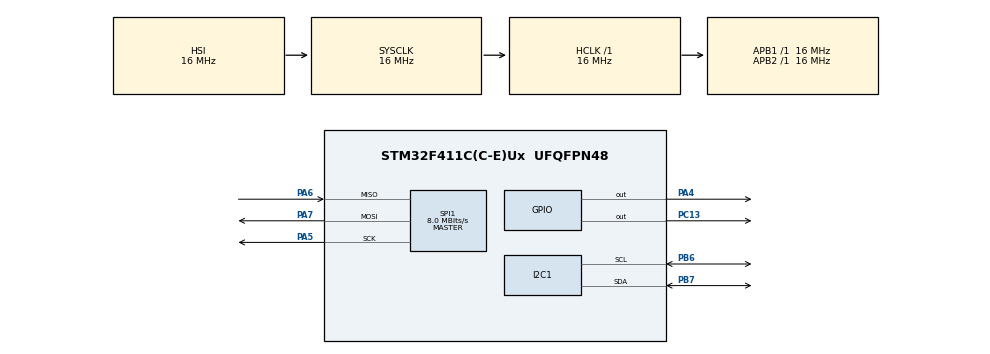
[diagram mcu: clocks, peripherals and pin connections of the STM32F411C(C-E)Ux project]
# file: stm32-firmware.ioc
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Mcu.Family=STM32F4
Mcu.Name=STM32F411C(C-E)Ux
Mcu.Package=UFQFPN48
NVIC.PriorityGroup=NVIC_PRIORITYGROUP_4
PA4.Signal=GPIO_Output
PA5.Mode=Full_Duplex_Master
PA5.Signal=SPI1_SCK
PA6.Mode=Full_Duplex_Master
PA6.Signal=SPI1_MISO
PA7.Mode=Full_Duplex_Master
PA7.Signal=SPI1_MOSI
PB6.Mode=I2C
PB6.Signal=I2C1_SCL
PB7.Mode=I2C
PB7.Signal=I2C1_SDA
PC13-ANTI_TAMP.Signal=GPIO_Output
ProjectManager.HeapSize=0x200
ProjectManager.StackSize=0x400
ProjectManager.TargetToolchain=STM32CubeIDE
RCC.AHBFreq_Value=16000000
RCC.APB1Freq_Value=16000000
RCC.APB2Freq_Value=16000000
RCC.CortexFreq_Value=16000000
RCC.HSE_VALUE=25000000
RCC.HSI_VALUE=16000000
RCC.LSE_VALUE=32768
RCC.SYSCLKFreq_VALUE=16000000
RCC.VCOOutputFreq_Value=192000000
SPI1.CalculateBaudRate=8.0 MBits/s
SPI1.Direction=SPI_DIRECTION_2LINES
SPI1.Mode=SPI_MODE_MASTER
SPI1.VirtualType=VM_MASTER
VP_TIM2_VS_ClockSourceINT.Mode=Internal
board=custom

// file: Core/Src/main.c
/* USER CODE BEGIN Header */
/**
  ******************************************************************************
  * @file           : main.c
  * @brief          : Main program body
  ******************************************************************************
  * @attention
  *
  * Copyright (c) 2026 STMicroelectronics.
  * All rights reserved.
  *
  * This software is licensed under terms that can be found in the LICENSE file
  * in the root directory of this software component.
  * If no LICENSE file comes with this software, it is provided AS-IS.
  *
  ******************************************************************************
  */
/* USER CODE END Header */
#include "main.h"

/* USER CODE BEGIN Includes */
#include "mpu6050.h"
#include "bmp280.h"
#include "mcp2515.h"
/* USER CODE END Includes */

I2C_HandleTypeDef hi2c1;

SPI_HandleTypeDef hspi1;

TIM_HandleTypeDef htim2;

void SystemClock_Config(void);
static void MX_GPIO_Init(void);
static void MX_TIM2_Init(void);
static void MX_I2C1_Init(void);
static void MX_SPI1_Init(void);

int main(void)
{

  /* MCU Configuration--------------------------------------------------------*/

  /* Reset of all peripherals, Initializes the Flash interface and the Systick. */
  HAL_Init();

  /* Configure the system clock */
  SystemClock_Config();

  /* Initialize all configured peripherals */
  MX_GPIO_Init();
  MX_TIM2_Init();
  MX_I2C1_Init();
  MX_SPI1_Init();
  /* USER CODE BEGIN 2 */

  HAL_Delay(500);

  /* Initialise MPU6050 */
  if (MPU6050_Init() != HAL_OK) {
    /* MPU failed — fast blink forever */
    while (1) {
      HAL_GPIO_TogglePin(GPIOC, GPIO_PIN_13);
      HAL_Delay(50);
    }
  }

  /* Initialise BMP280 */
  uint8_t bmp_ok = (BMP280_Init() == HAL_OK) ? 1 : 0;

  /* Initialise MCP2515 */
  uint8_t mcp_ok = (MCP2515_Init() == HAL_OK) ? 1 : 0;

  /* Blink confirmation:
   *   3 blinks = MPU only
   *   5 blinks = MPU + BMP
   *   7 blinks = MPU + BMP + MCP (all good)
   */
  uint8_t confirm_blinks = 3;
  if (bmp_ok) confirm_blinks = 5;
  if (bmp_ok && mcp_ok) confirm_blinks = 7;

  for (uint8_t i = 0; i < confirm_blinks * 2; i++) {
    HAL_GPIO_TogglePin(GPIOC, GPIO_PIN_13);
    HAL_Delay(200);
  }
  HAL_Delay(500);

  /* USER CODE END 2 */

  /* -------- CAN TX + RX loopback test --------
   * We'd normally need a second configured node on the bus to ACK our
   * frames.  MCP2515 has a built-in loopback mode that internally routes
   * TX -> RX, which is perfect for bench-testing the SPI + bitstream path
   * before we build the second node.
   *
   * CANCTRL = 0x0F, loopback mode = 0x40 in REQOP[2:0]
   */
  /* Direct register write via SPI to switch MCP2515 into LOOPBACK */
  {
    uint8_t tx[3] = { 0x02 /*WRITE*/, 0x0F /*CANCTRL*/, 0x40 /*LOOPBACK*/ };
    HAL_GPIO_WritePin(GPIOA, GPIO_PIN_4, GPIO_PIN_RESET);  /* CS low */
    HAL_SPI_Transmit(&hspi1, tx, 3, 100);
    HAL_GPIO_WritePin(GPIOA, GPIO_PIN_4, GPIO_PIN_SET);    /* CS high */
    HAL_Delay(5);
  }

  /* Infinite loop */
  /* USER CODE BEGIN WHILE */
  CAN_Frame_t accel_frame = { .id = 0x100, .dlc = 6 };
  CAN_Frame_t env_frame   = { .id = 0x102, .dlc = 8 };
  CAN_Frame_t rx_frame;
  MPU6050_Data_t imu;
  BMP280_Data_t  env;
  int16_t last_rx_az = 0;
  int32_t last_rx_temp = 0;
  uint8_t tick = 0;

  while (1)
  {
    /* --- 1. Read MPU6050 (every tick, ~100Hz) --- */
    if (MPU6050_ReadAll(&imu) == HAL_OK) {
      accel_frame.data[0] = (imu.accel_x >> 8) & 0xFF;
      accel_frame.data[1] =  imu.accel_x       & 0xFF;
      accel_frame.data[2] = (imu.accel_y >> 8) & 0xFF;
      accel_frame.data[3] =  imu.accel_y       & 0xFF;
      accel_frame.data[4] = (imu.accel_z >> 8) & 0xFF;
      accel_frame.data[5] =  imu.accel_z       & 0xFF;
      MCP2515_Transmit(&accel_frame);
    }

    /* --- 2. Read BMP280 every 10th tick (~10Hz) --- */
    if ((tick % 10) == 0 && BMP280_Read(&env) == HAL_OK) {
      env_frame.data[0] = (env.temperature >> 24) & 0xFF;
      env_frame.data[1] = (env.temperature >> 16) & 0xFF;
      env_frame.data[2] = (env.temperature >>  8) & 0xFF;
      env_frame.data[3] =  env.temperature        & 0xFF;
      env_frame.data[4] = (env.pressure    >> 24) & 0xFF;
      env_frame.data[5] = (env.pressure    >> 16) & 0xFF;
      env_frame.data[6] = (env.pressure    >>  8) & 0xFF;
      env_frame.data[7] =  env.pressure           & 0xFF;
      MCP2515_Transmit(&env_frame);
    }
    tick++;

    /* --- 3. Receive and demultiplex by CAN ID --- */
    HAL_Delay(10);
    while (MCP2515_FrameAvailable()) {
      if (MCP2515_Receive(&rx_frame) != HAL_OK) break;

      if (rx_frame.id == 0x100) {
        last_rx_az = (int16_t)((rx_frame.data[4] << 8) | rx_frame.data[5]);
      } else if (rx_frame.id == 0x102) {
        last_rx_temp = ((int32_t)rx_frame.data[0] << 24)
                     | ((int32_t)rx_frame.data[1] << 16)
                     | ((int32_t)rx_frame.data[2] <<  8)
                     |  (int32_t)rx_frame.data[3];
      }
    }

    /* --- 4. LED driven by CAN-received accel_z (tilt-reactive) --- */
    int16_t az = last_rx_az;
    if (az < 0) az = -az;
    uint32_t delay = 50 + (uint32_t)az / 40;
    if (delay > 500) delay = 500;

    HAL_GPIO_TogglePin(GPIOC, GPIO_PIN_13);
    HAL_Delay(delay);

    (void)last_rx_temp;  /* available for debugger inspection */
    /* USER CODE END WHILE */

  }
}

void SystemClock_Config(void)
{
  RCC_OscInitTypeDef RCC_OscInitStruct = {0};
  RCC_ClkInitTypeDef RCC_ClkInitStruct = {0};

  /** Configure the main internal regulator output voltage
  */
  __HAL_RCC_PWR_CLK_ENABLE();
  __HAL_PWR_VOLTAGESCALING_CONFIG(PWR_REGULATOR_VOLTAGE_SCALE1);

  /** Initializes the RCC Oscillators according to the specified parameters
  * in the RCC_OscInitTypeDef structure.
  */
  RCC_OscInitStruct.OscillatorType = RCC_OSCILLATORTYPE_HSI;
  RCC_OscInitStruct.HSIState = RCC_HSI_ON;
  RCC_OscInitStruct.HSICalibrationValue = RCC_HSICALIBRATION_DEFAULT;
  RCC_OscInitStruct.PLL.PLLState = RCC_PLL_NONE;
  if (HAL_RCC_OscConfig(&RCC_OscInitStruct) != HAL_OK)
  {
    Error_Handler();
  }

  /** Initializes the CPU, AHB and APB buses clocks
  */
  RCC_ClkInitStruct.ClockType = RCC_CLOCKTYPE_HCLK|RCC_CLOCKTYPE_SYSCLK
                              |RCC_CLOCKTYPE_PCLK1|RCC_CLOCKTYPE_PCLK2;
  RCC_ClkInitStruct.SYSCLKSource = RCC_SYSCLKSOURCE_HSI;
  RCC_ClkInitStruct.AHBCLKDivider = RCC_SYSCLK_DIV1;
  RCC_ClkInitStruct.APB1CLKDivider = RCC_HCLK_DIV1;
  RCC_ClkInitStruct.APB2CLKDivider = RCC_HCLK_DIV1;

  if (HAL_RCC_ClockConfig(&RCC_ClkInitStruct, FLASH_LATENCY_0) != HAL_OK)
  {
    Error_Handler();
  }
}

static void MX_I2C1_Init(void)
{

  hi2c1.Instance = I2C1;
  hi2c1.Init.ClockSpeed = 100000;
  hi2c1.Init.DutyCycle = I2C_DUTYCYCLE_2;
  hi2c1.Init.OwnAddress1 = 0;
  hi2c1.Init.AddressingMode = I2C_ADDRESSINGMODE_7BIT;
  hi2c1.Init.DualAddressMode = I2C_DUALADDRESS_DISABLE;
  hi2c1.Init.OwnAddress2 = 0;
  hi2c1.Init.GeneralCallMode = I2C_GENERALCALL_DISABLE;
  hi2c1.Init.NoStretchMode = I2C_NOSTRETCH_DISABLE;
  if (HAL_I2C_Init(&hi2c1) != HAL_OK)
  {
    Error_Handler();
  }

}

static void MX_SPI1_Init(void)
{

  /* SPI1 parameter configuration*/
  hspi1.Instance = SPI1;
  hspi1.Init.Mode = SPI_MODE_MASTER;
  hspi1.Init.Direction = SPI_DIRECTION_2LINES;
  hspi1.Init.DataSize = SPI_DATASIZE_8BIT;
  hspi1.Init.CLKPolarity = SPI_POLARITY_LOW;
  hspi1.Init.CLKPhase = SPI_PHASE_1EDGE;
  hspi1.Init.NSS = SPI_NSS_SOFT;
  hspi1.Init.BaudRatePrescaler = SPI_BAUDRATEPRESCALER_2;
  hspi1.Init.FirstBit = SPI_FIRSTBIT_MSB;
  hspi1.Init.TIMode = SPI_TIMODE_DISABLE;
  hspi1.Init.CRCCalculation = SPI_CRCCALCULATION_DISABLE;
  hspi1.Init.CRCPolynomial = 10;
  if (HAL_SPI_Init(&hspi1) != HAL_OK)
  {
    Error_Handler();
  }

}

static void MX_TIM2_Init(void)
{

  TIM_ClockConfigTypeDef sClockSourceConfig = {0};
  TIM_MasterConfigTypeDef sMasterConfig = {0};

  htim2.Instance = TIM2;
  htim2.Init.Prescaler = 0;
  htim2.Init.CounterMode = TIM_COUNTERMODE_UP;
  htim2.Init.Period = 4294967295;
  htim2.Init.ClockDivision = TIM_CLOCKDIVISION_DIV1;
  htim2.Init.AutoReloadPreload = TIM_AUTORELOAD_PRELOAD_DISABLE;
  if (HAL_TIM_Base_Init(&htim2) != HAL_OK)
  {
    Error_Handler();
  }
  sClockSourceConfig.ClockSource = TIM_CLOCKSOURCE_INTERNAL;
  if (HAL_TIM_ConfigClockSource(&htim2, &sClockSourceConfig) != HAL_OK)
  {
    Error_Handler();
  }
  sMasterConfig.MasterOutputTrigger = TIM_TRGO_RESET;
  sMasterConfig.MasterSlaveMode = TIM_MASTERSLAVEMODE_DISABLE;
  if (HAL_TIMEx_MasterConfigSynchronization(&htim2, &sMasterConfig) != HAL_OK)
  {
    Error_Handler();
  }

}

static void MX_GPIO_Init(void)
{
  GPIO_InitTypeDef GPIO_InitStruct = {0};

  /* GPIO Ports Clock Enable */
  __HAL_RCC_GPIOC_CLK_ENABLE();
  __HAL_RCC_GPIOA_CLK_ENABLE();
  __HAL_RCC_GPIOB_CLK_ENABLE();

  /*Configure GPIO pin Output Level */
  HAL_GPIO_WritePin(GPIOC, GPIO_PIN_13, GPIO_PIN_RESET);

  /*Configure GPIO pin Output Level */
  HAL_GPIO_WritePin(GPIOA, GPIO_PIN_4, GPIO_PIN_RESET);

  /*Configure GPIO pin : PC13 */
  GPIO_InitStruct.Pin = GPIO_PIN_13;
  GPIO_InitStruct.Mode = GPIO_MODE_OUTPUT_PP;
  GPIO_InitStruct.Pull = GPIO_NOPULL;
  GPIO_InitStruct.Speed = GPIO_SPEED_FREQ_LOW;
  HAL_GPIO_Init(GPIOC, &GPIO_InitStruct);

  /*Configure GPIO pin : PA4 */
  GPIO_InitStruct.Pin = GPIO_PIN_4;
  GPIO_InitStruct.Mode = GPIO_MODE_OUTPUT_PP;
  GPIO_InitStruct.Pull = GPIO_NOPULL;
  GPIO_InitStruct.Speed = GPIO_SPEED_FREQ_LOW;
  HAL_GPIO_Init(GPIOA, &GPIO_InitStruct);

}

void Error_Handler(void)
{
  __disable_irq();
  while (1)
  {
  }
}
